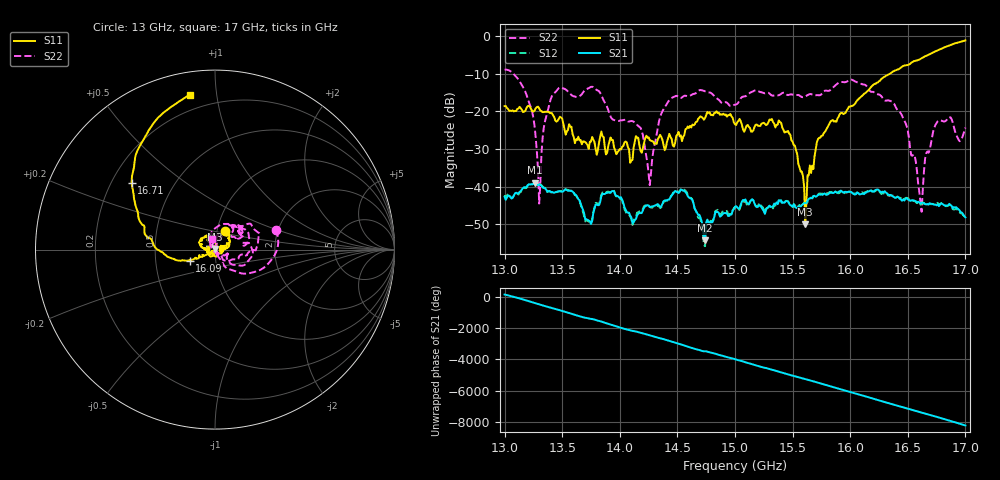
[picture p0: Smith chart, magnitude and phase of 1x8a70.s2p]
!Keysight Technologies,P9374A,MY57211807,A.19.30.04
!Date: Friday, May 08, 2026 14:17:00
!Correction: S11(C  2-Port  )
!S21(C  2-Port  )
!S12(C  2-Port  )
!S22(C  2-Port  )
!S2P File: Measurements: S11, S21, S12, S22:
# Hz S  dB  R 50
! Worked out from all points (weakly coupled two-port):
!   401 points, 13 GHz to 17 GHz, reference 50 ohm
!   highest |S21| = -38.96 dB at 13.26 GHz (marker M1); lowest = -54.2 dB at 14.74 GHz (marker M2)
!   lowest |S11| = -50.0 dB at 15.61 GHz (marker M3), VSWR 1.01, Z = 50.1 + j0.286 ohm
!   |S11| at or under -10 dB: start of sweep to 16.34 GHz
!   |S22| runs from -46.6 to -8.9 dB; largest |S21 - S12| = 0.00071
!   S11 on the Smith chart (normalised r, x): 13 GHz: 1.10, +0.23; 16.09 GHz: 0.75, -0.09; 16.71 GHz: 0.28, +0.33; 17 GHz: 0.12, +0.84
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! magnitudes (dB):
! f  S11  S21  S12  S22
! 13 GHz  -18.6  -42.7  -42.3  -9.0
! 13.16 GHz  -20.2  -40.4  -40.7  -13.6
! 13.26 GHz  -19.8  -39.0  -39.0  -23.9
! 13.3 GHz  -19.2  -39.3  -39.2  -44.5
! 13.42 GHz  -21.0  -41.5  -41.6  -15.5
! 13.67 GHz  -28.7  -45.4  -45.6  -15.5
! 13.93 GHz  -27.6  -41.2  -41.1  -21.9
! 14.16 GHz  -27.0  -47.2  -46.8  -23.8
! 14.26 GHz  -27.6  -45.4  -45.3  -39.6
! 14.34 GHz  -26.9  -45.0  -45.2  -22.7
! 14.56 GHz  -26.3  -41.1  -40.8  -15.9
! 14.74 GHz  -21.8  -54.2  -55.8  -14.7
! 15 GHz  -23.4  -45.3  -45.4  -18.2
! 15.4 GHz  -23.0  -43.6  -44.0  -15.3
! 15.61 GHz  -50.0  -44.4  -44.6  -16.0
! 15.67 GHz  -34.4  -43.0  -43.1  -15.5
! 16.09 GHz  -16.2  -42.0  -41.5  -12.6
! 16.34 GHz  -10.1  -42.2  -42.4  -17.1
! 16.48 GHz  -7.8  -43.2  -43.0  -23.1
! 16.61 GHz  -6.1  -44.5  -44.8  -44.2
! 16.71 GHz  -4.5  -44.5  -44.6  -26.9
! 17 GHz  -1.2  -48.1  -48.0  -24.3
